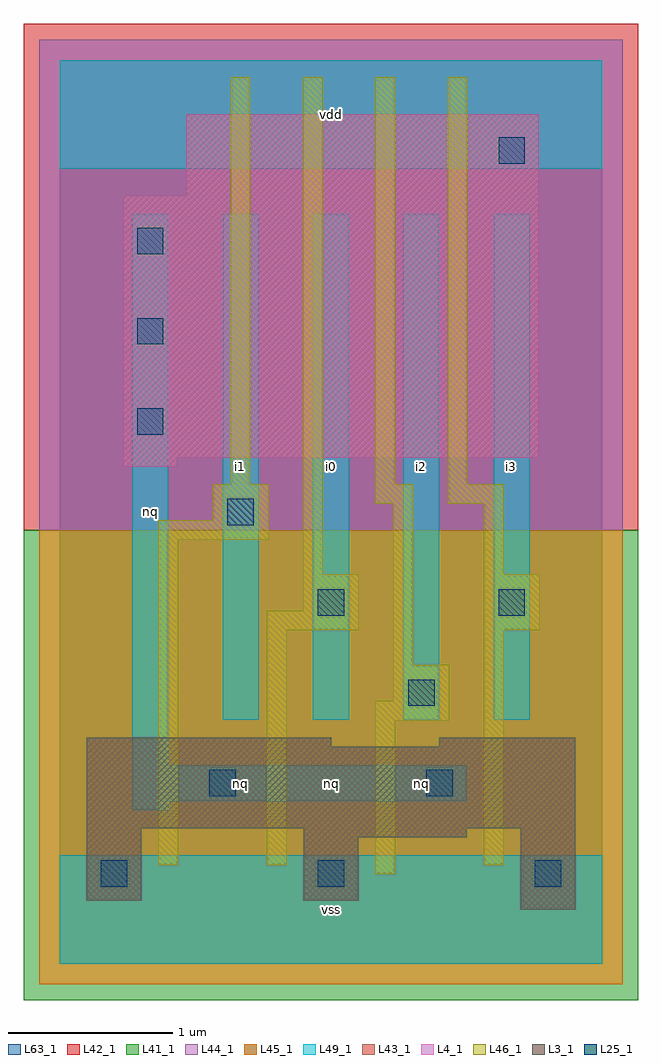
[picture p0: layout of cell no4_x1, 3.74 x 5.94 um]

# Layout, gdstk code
import gdstk
lib = gdstk.Library(unit=1e-6, precision=1e-09)
def R(c, l, rs):  # rectangles x0, y0, x1, y1
    for r in rs: c.add(gdstk.rectangle(r[:2], r[2:], *l))
def A(c, l, x, y, w, h, nx, ny, dx, dy):  # array of equal rectangles
    R(c, l, [(x+i*dx, y+j*dy, x+i*dx+w, y+j*dy+h) for i in range(nx) for j in range(ny)])
L3_1 = (3, 1)
L4_1 = (4, 1)
L25_1 = (25, 1)
L41_1 = (41, 1)
L42_1 = (42, 1)
L43_1 = (43, 1)
L44_1 = (44, 1)
L45_1 = (45, 1)
L46_1 = (46, 1)
L49_1 = (49, 1)
L63_1 = (63, 1)

no4_x1 = lib.new_cell('no4_x1')
R(no4_x1, L3_1, [(2.805,0.33,3.135,0.825), (0.165,0.385,0.495,0.825), (1.485,0.385,1.815,0.77), (1.485,0.77,2.475,0.825), (0.165,0.825,3.135,1.32), (0.165,1.32,1.65,1.375), (2.31,1.32,3.135,1.375)])
R(no4_x1, L4_1, [(0.385,3.025,0.715,3.08), (0.385,3.08,2.915,4.675), (0.77,4.675,2.915,5.17)])
A(no4_x1, L25_1, 0.25, 0.47, 0.16, 0.16, 3, 1, 1.32, 0)
A(no4_x1, L25_1, 0.47, 3.22, 0.16, 0.16, 1, 3, 0, 0.55)
R(no4_x1, L25_1, [(0.91,1.02,1.07,1.18), (2.23,1.02,2.39,1.18), (2.12,1.57,2.28,1.73), (1.57,2.12,1.73,2.28), (2.67,2.12,2.83,2.28), (1.02,2.67,1.18,2.83), (2.67,4.87,2.83,5.03)])
R(no4_x1, L41_1, [(-0.22,-0.22,3.52,2.64)])
R(no4_x1, L42_1, [(-0.22,2.64,3.52,5.72)])
R(no4_x1, L43_1, [(2.805,0.33,3.135,0.825), (0.165,0.385,0.495,0.825), (1.485,0.385,1.815,0.77), (1.485,0.77,2.475,0.825), (0.165,0.825,3.135,1.32), (0.165,1.32,1.65,1.375), (2.31,1.32,3.135,1.375), (0.385,3.025,0.715,3.08), (0.385,3.08,2.915,4.675), (0.77,4.675,2.915,5.17)])
R(no4_x1, L44_1, [(-0.125,2.64,3.425,5.625)])
R(no4_x1, L45_1, [(-0.125,-0.125,3.425,2.64)])
R(no4_x1, L46_1, [(1.92,0.545,2.04,1.48), (0.6,0.6,0.72,2.58), (1.26,0.6,1.38,2.03), (2.58,0.6,2.7,2.03), (1.92,1.48,2.37,1.6), (2.03,1.6,2.37,1.82), (2.03,1.82,2.15,2.8), (1.26,2.03,1.82,2.15), (2.58,2.03,2.92,2.37), (1.48,2.15,1.82,2.37), (1.48,2.37,1.6,5.395), (2.58,2.37,2.7,2.8), (0.6,2.58,1.27,2.7), (0.93,2.7,1.27,2.92), (1.92,2.8,2.15,2.92), (2.36,2.8,2.7,2.92), (1.04,2.92,1.16,5.395), (1.92,2.92,2.04,5.395), (2.36,2.92,2.48,5.395)])
A(no4_x1, L49_1, 0.99, 1.485, 0.22, 3.08, 4, 1, 0.55, 0)
R(no4_x1, L49_1, [(0,0,3.3,0.66), (0.44,0.935,0.66,0.99), (0.44,0.99,2.475,1.21), (0.44,1.21,0.66,4.565), (0,4.84,3.3,5.5)])
R(no4_x1, L63_1, [(0,0,3.3,5.5)])
no4_x1.add(gdstk.Label('nq', (0.55,2.75), layer=49, texttype=1))
no4_x1.add(gdstk.Label('nq', (1.1,1.1), layer=49, texttype=1))
no4_x1.add(gdstk.Label('i1', (1.1,3.025), layer=49, texttype=1))
no4_x1.add(gdstk.Label('nq', (1.65,1.1), layer=49, texttype=1))
no4_x1.add(gdstk.Label('vss', (1.65,0.33), layer=49, texttype=1))
no4_x1.add(gdstk.Label('nq', (2.2,1.1), layer=49, texttype=1))
no4_x1.add(gdstk.Label('i0', (1.65,3.025), layer=49, texttype=1))
no4_x1.add(gdstk.Label('i2', (2.2,3.025), layer=49, texttype=1))
no4_x1.add(gdstk.Label('vdd', (1.65,5.17), layer=49, texttype=1))
no4_x1.add(gdstk.Label('i3', (2.75,3.025), layer=49, texttype=1))

lib.write_gds('no4_x1.gds')
